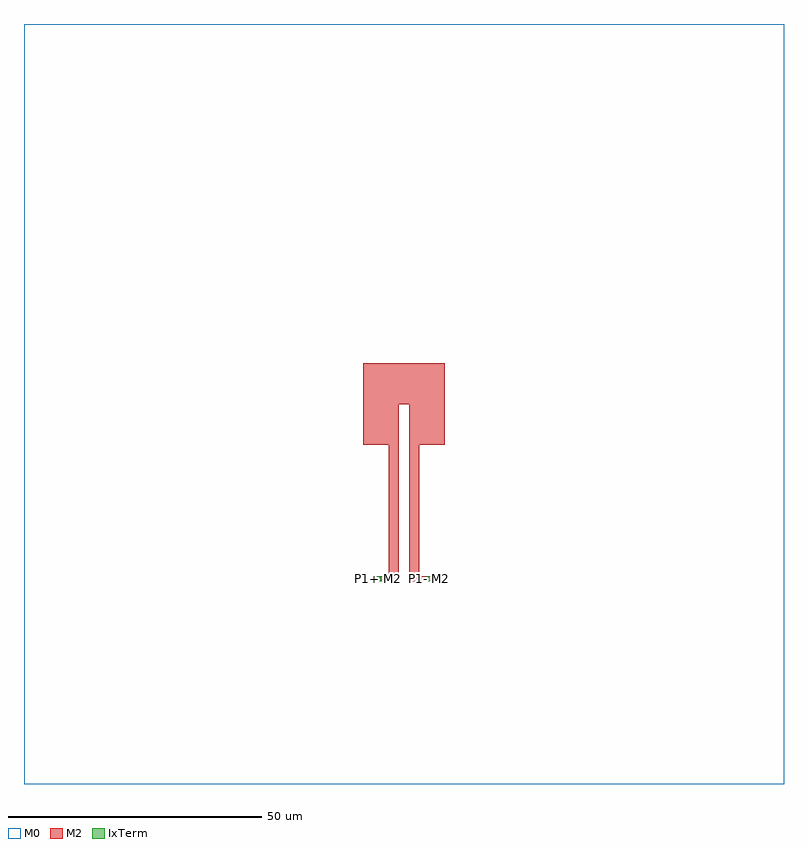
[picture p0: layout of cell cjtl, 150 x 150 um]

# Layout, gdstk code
import gdstk
lib = gdstk.Library(unit=1e-6, precision=1e-09)
def R(c, l, rs):  # rectangles x0, y0, x1, y1
    for r in rs: c.add(gdstk.rectangle(r[:2], r[2:], *l))
def P(c, l, *ps):  # polygons
    for p in ps: c.add(gdstk.Polygon(p, *l))
M2 = (6, 0)
M0 = (30, 0)
IxTerm = (63, 0)

cjtl = lib.new_cell('cjtl')
P(cjtl, M2, [(-25,0),(-25,27),(-30,27),(-30,43),(-14,43),(-14,27),(-19,27),(-19,0),(-21,0),(-21,35),(-23,35),(-23,0)])
R(cjtl, M0, [(-97,-40,53,110)])
R(cjtl, IxTerm, [(-27.5,0,-26.5,1), (-17.5,0,-16.5,1)])
cjtl.add(gdstk.FlexPath([(-17,0.5),(-19,0.5)], 1, ends="flush", simple_path=True, layer=6, datatype=0))  # M2
cjtl.add(gdstk.FlexPath([(-27,0.5),(-25,0.5)], 1, ends="flush", simple_path=True, layer=6, datatype=0))  # M2
cjtl.add(gdstk.Label('P1+ M2', (-27,0.5), layer=64, texttype=0))
cjtl.add(gdstk.Label('P1- M2', (-17,0.5), layer=64, texttype=0))

lib.write_gds('cjtl.gds')
